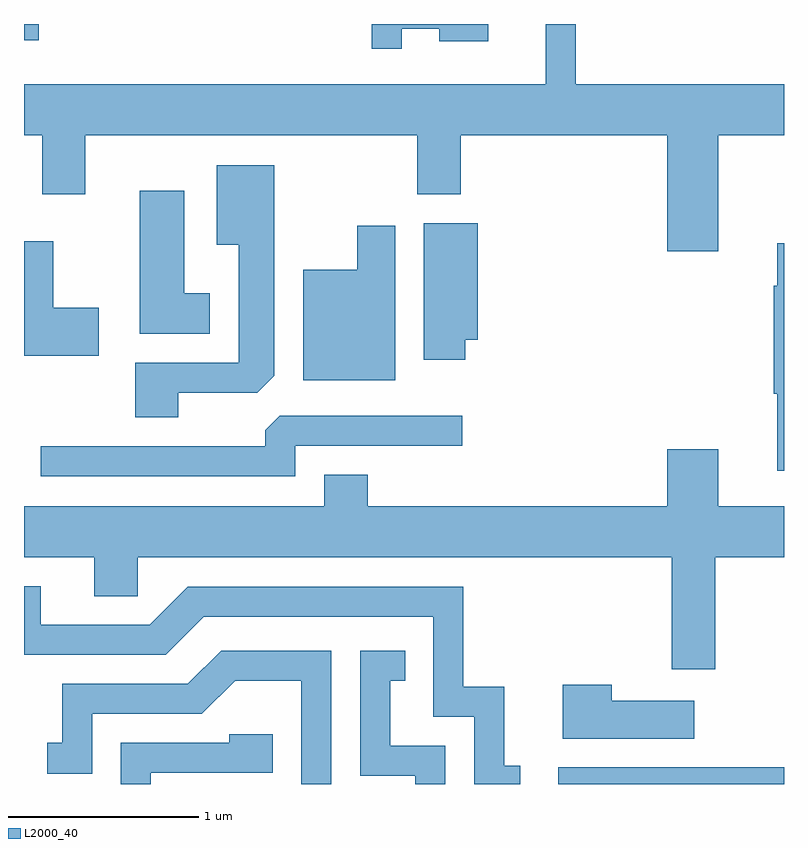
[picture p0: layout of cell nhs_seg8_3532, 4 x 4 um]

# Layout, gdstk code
import gdstk
lib = gdstk.Library(unit=1e-6, precision=1e-09)
def R(c, l, rs):  # rectangles x0, y0, x1, y1
    for r in rs: c.add(gdstk.rectangle(r[:2], r[2:], *l))
def P(c, l, *ps):  # polygons
    for p in ps: c.add(gdstk.Polygon(p, *l))
L2000_40 = (2000, 40)

nhs_seg8_3532 = lib.new_cell('nhs_seg8_3532')
R(nhs_seg8_3532, L2000_40, [(294.423,1826.342,295.611,1826.429), (291.611,1830.256,291.689,1830.342)])
P(nhs_seg8_3532, L2000_40, [(293.599,1830.316),(293.796,1830.316),(293.796,1830.251),(294.054,1830.251),(294.054,1830.342),(293.441,1830.342),(293.441,1830.213),(293.599,1830.213)],
  [(295.264,1829.756),(295.611,1829.756),(295.611,1830.024),(294.514,1830.024),(294.514,1830.342),(294.356,1830.342),(294.356,1830.024),(291.611,1830.024),(291.611,1829.756),(291.706,1829.756),(291.706,1829.446),(291.934,1829.446),(291.934,1829.756),(293.681,1829.756),(293.681,1829.446),(293.909,1829.446),(293.909,1829.756),(294.996,1829.756),(294.996,1829.146),(295.264,1829.146)],
  [(292.424,1828.401),(292.839,1828.401),(292.929,1828.492),(292.929,1829.599),(292.626,1829.599),(292.626,1829.181),(292.741,1829.181),(292.741,1828.559),(292.196,1828.559),(292.196,1828.271),(292.424,1828.271)],
  [(292.589,1828.924),(292.454,1828.924),(292.454,1829.464),(292.221,1829.464),(292.221,1828.711),(292.589,1828.711)],
  [(293.934,1828.681),(293.999,1828.681),(293.999,1829.294),(293.716,1829.294),(293.716,1828.576),(293.934,1828.576)],
  [(293.564,1829.279),(293.366,1829.279),(293.366,1829.049),(293.081,1829.049),(293.081,1828.466),(293.564,1828.466)],
  [(292.004,1828.849),(291.764,1828.849),(291.764,1829.199),(291.611,1829.199),(291.611,1828.596),(292.004,1828.596)],
  [(295.611,1829.189),(295.576,1829.189),(295.576,1828.964),(295.556,1828.964),(295.556,1828.396),(295.576,1828.396),(295.576,1827.991),(295.611,1827.991)],
  [(293.039,1828.121),(293.918,1828.121),(293.918,1828.279),(292.957,1828.279),(292.881,1828.204),(292.881,1828.119),(291.698,1828.119),(291.698,1827.961),(293.039,1827.961)],
  [(295.249,1827.536),(295.611,1827.536),(295.611,1827.804),(295.264,1827.804),(295.264,1828.104),(294.996,1828.104),(294.996,1827.804),(293.419,1827.804),(293.419,1827.969),(293.191,1827.969),(293.191,1827.804),(291.611,1827.804),(291.611,1827.536),(291.981,1827.536),(291.981,1827.331),(292.209,1827.331),(292.209,1827.536),(295.021,1827.536),(295.021,1826.946),(295.249,1826.946)],
  [(294.223,1826.439),(294.139,1826.439),(294.139,1826.854),(293.924,1826.854),(293.924,1827.379),(292.474,1827.379),(292.274,1827.179),(291.699,1827.179),(291.699,1827.384),(291.611,1827.384),(291.611,1827.021),(292.357,1827.021),(292.557,1827.221),(293.766,1827.221),(293.766,1826.696),(293.981,1826.696),(293.981,1826.342),(294.223,1826.342)],
  [(293.829,1826.544),(293.539,1826.544),(293.539,1826.886),(293.618,1826.886),(293.618,1827.044),(293.381,1827.044),(293.381,1826.386),(293.671,1826.386),(293.671,1826.342),(293.829,1826.342)],
  [(293.229,1827.044),(292.649,1827.044),(292.474,1826.869),(291.811,1826.869),(291.811,1826.559),(291.733,1826.559),(291.733,1826.396),(291.969,1826.396),(291.969,1826.711),(292.547,1826.711),(292.722,1826.886),(293.071,1826.886),(293.071,1826.342),(293.229,1826.342)],
  [(295.139,1826.779),(294.704,1826.779),(294.704,1826.864),(294.446,1826.864),(294.446,1826.581),(295.139,1826.581)],
  [(292.279,1826.401),(292.919,1826.401),(292.919,1826.604),(292.691,1826.604),(292.691,1826.559),(292.121,1826.559),(292.121,1826.342),(292.279,1826.342)])

lib.write_gds('nhs_seg8_3532.gds')
